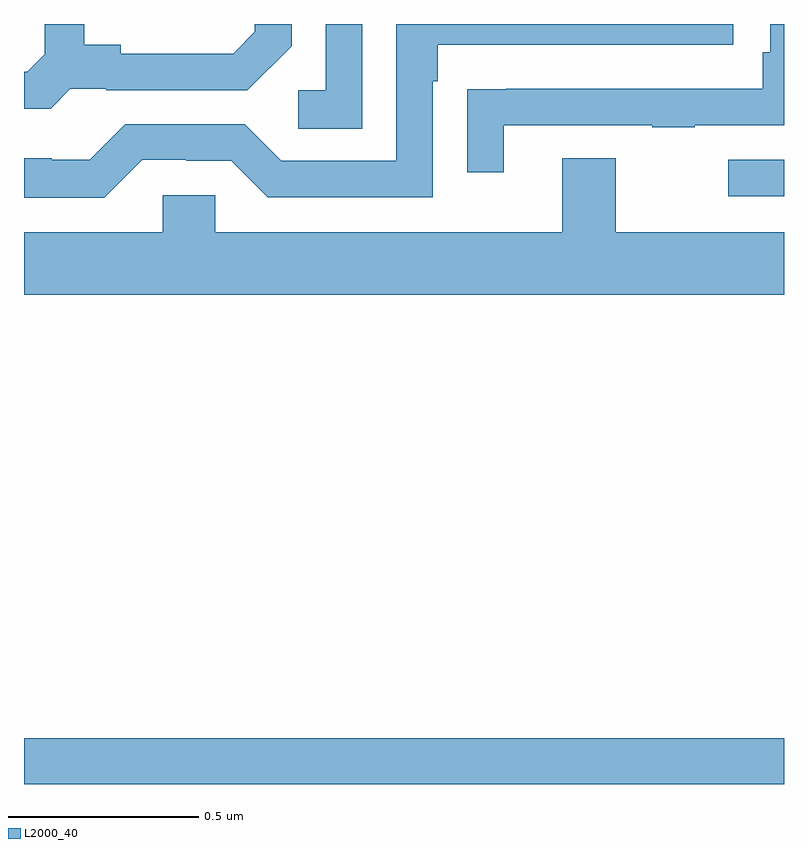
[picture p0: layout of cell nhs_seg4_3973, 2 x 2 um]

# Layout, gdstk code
import gdstk
lib = gdstk.Library(unit=1e-6, precision=1e-09)
def R(c, l, rs):  # rectangles x0, y0, x1, y1
    for r in rs: c.add(gdstk.rectangle(r[:2], r[2:], *l))
def P(c, l, *ps):  # polygons
    for p in ps: c.add(gdstk.Polygon(p, *l))
L2000_40 = (2000, 40)

nhs_seg4_3973 = lib.new_cell('nhs_seg4_3973')
R(nhs_seg4_3973, L2000_40, [(160,760.9,162,761.02), (161.853,762.447,162,762.543)])
P(nhs_seg4_3973, L2000_40, [(160.311,762.543),(160.427,762.543),(160.427,762.54),(160.545,762.54),(160.641,762.444),(161.076,762.444),(161.076,762.749),(161.089,762.749),(161.089,762.846),(161.866,762.846),(161.866,762.9),(160.98,762.9),(160.98,762.54),(160.677,762.54),(160.581,762.636),(160.266,762.636),(160.173,762.543),(160.073,762.543),(160.073,762.547),(160,762.547),(160,762.443),(160.211,762.443)],
  [(160.122,762.729),(160.216,762.729),(160.216,762.726),(160.588,762.726),(160.704,762.842),(160.704,762.9),(160.607,762.9),(160.607,762.879),(160.55,762.822),(160.255,762.822),(160.255,762.845),(160.159,762.845),(160.159,762.9),(160.055,762.9),(160.055,762.821),(160.008,762.774),(160,762.774),(160,762.677),(160.07,762.677)],
  [(160.89,762.9),(160.794,762.9),(160.794,762.726),(160.722,762.726),(160.722,762.625),(160.89,762.625)],
  [(161.263,762.633),(161.653,762.633),(161.653,762.628),(161.765,762.628),(161.765,762.633),(162,762.633),(162,762.9),(161.964,762.9),(161.964,762.826),(161.944,762.826),(161.944,762.729),(161.269,762.729),(161.269,762.728),(161.167,762.728),(161.167,762.51),(161.263,762.51)],
  [(162,762.352),(161.557,762.352),(161.557,762.547),(161.417,762.547),(161.417,762.352),(160.503,762.352),(160.503,762.45),(160.365,762.45),(160.365,762.352),(160,762.352),(160,762.188),(162,762.188)])

lib.write_gds('nhs_seg4_3973.gds')
